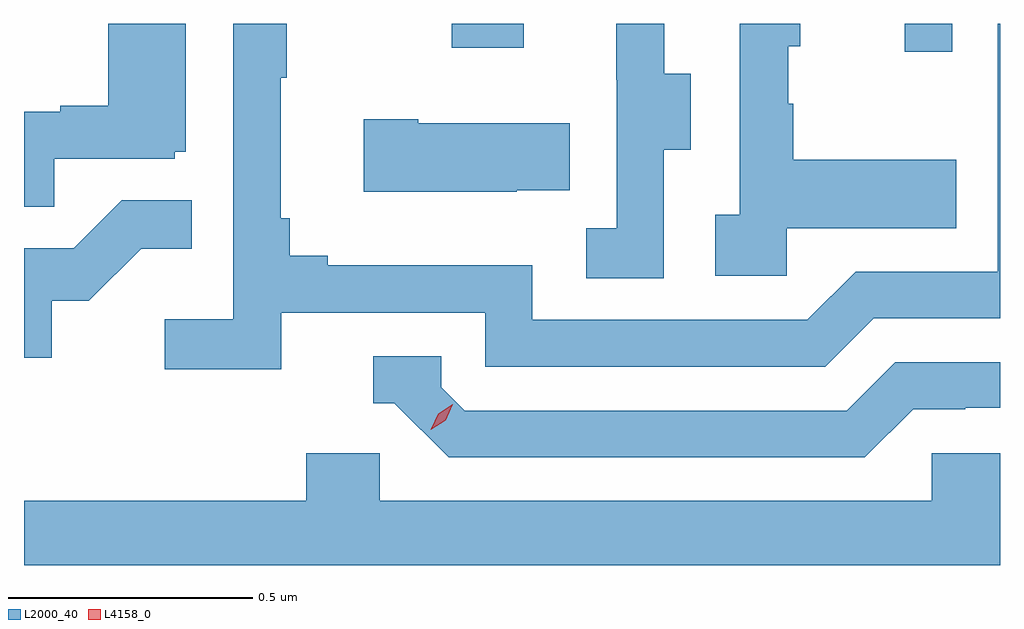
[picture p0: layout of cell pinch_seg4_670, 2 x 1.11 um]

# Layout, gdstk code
import gdstk
lib = gdstk.Library(unit=1e-6, precision=1e-09)
def R(c, l, rs):  # rectangles x0, y0, x1, y1
    for r in rs: c.add(gdstk.rectangle(r[:2], r[2:], *l))
def P(c, l, *ps):  # polygons
    for p in ps: c.add(gdstk.Polygon(p, *l))
L2000_40 = (2000, 40)
L4158_0 = (4158, 0)

pinch_seg4_670 = lib.new_cell('pinch_seg4_670')
R(pinch_seg4_670, L2000_40, [(1079.396,749.952,1079.493,750.01), (1078.468,749.961,1078.615,750.01)])
P(pinch_seg4_670, L2000_40, [(1079.154,749.591),(1079.501,749.591),(1079.501,749.731),(1079.167,749.731),(1079.167,749.846),(1079.157,749.846),(1079.157,749.964),(1079.182,749.964),(1079.182,750.01),(1079.058,750.01),(1079.058,749.618),(1079.007,749.618),(1079.007,749.493),(1079.154,749.493)],
  [(1078.902,749.752),(1078.957,749.752),(1078.957,749.907),(1078.903,749.907),(1078.903,750.01),(1078.805,750.01),(1078.805,749.895),(1078.806,749.895),(1078.806,749.591),(1078.743,749.591),(1078.743,749.488),(1078.902,749.488)],
  [(1077.653,749.733),(1077.9,749.733),(1077.9,749.748),(1077.922,749.748),(1077.922,750.01),(1077.764,750.01),(1077.764,749.842),(1077.665,749.842),(1077.665,749.829),(1077.591,749.829),(1077.591,749.635),(1077.653,749.635)],
  [(1078.118,749.418),(1078.536,749.418),(1078.536,749.307),(1079.233,749.307),(1079.332,749.406),(1079.591,749.406),(1079.591,750.01),(1079.586,750.01),(1079.586,749.502),(1079.295,749.502),(1079.196,749.403),(1078.632,749.403),(1078.632,749.515),(1078.213,749.515),(1078.213,749.534),(1078.136,749.534),(1078.136,749.611),(1078.117,749.611),(1078.117,749.899),(1078.129,749.899),(1078.129,750.01),(1078.02,750.01),(1078.02,749.404),(1077.879,749.404),(1077.879,749.302),(1078.118,749.302)],
  [(1078.601,749.669),(1078.709,749.669),(1078.709,749.806),(1078.399,749.806),(1078.399,749.814),(1078.287,749.814),(1078.287,749.666),(1078.601,749.666)],
  [(1077.648,749.442),(1077.724,749.442),(1077.831,749.549),(1077.935,749.549),(1077.935,749.648),(1077.791,749.648),(1077.693,749.55),(1077.591,749.55),(1077.591,749.325),(1077.648,749.325)],
  [(1079.413,749.22),(1079.52,749.22),(1079.52,749.223),(1079.591,749.223),(1079.591,749.316),(1079.376,749.316),(1079.277,749.217),(1078.494,749.217),(1078.446,749.265),(1078.446,749.328),(1078.307,749.328),(1078.307,749.232),(1078.35,749.232),(1078.461,749.121),(1079.314,749.121)],
  [(1079.591,749.13),(1079.451,749.13),(1079.451,749.032),(1078.32,749.032),(1078.32,749.13),(1078.169,749.13),(1078.169,749.032),(1077.591,749.032),(1077.591,748.9),(1079.591,748.9)])
P(pinch_seg4_670, L4158_0, [(1078.424,749.178),(1078.424,749.178),(1078.44,749.211),(1078.47,749.23),(1078.47,749.23),(1078.47,749.23),(1078.455,749.197),(1078.425,749.178)])

lib.write_gds('pinch_seg4_670.gds')
